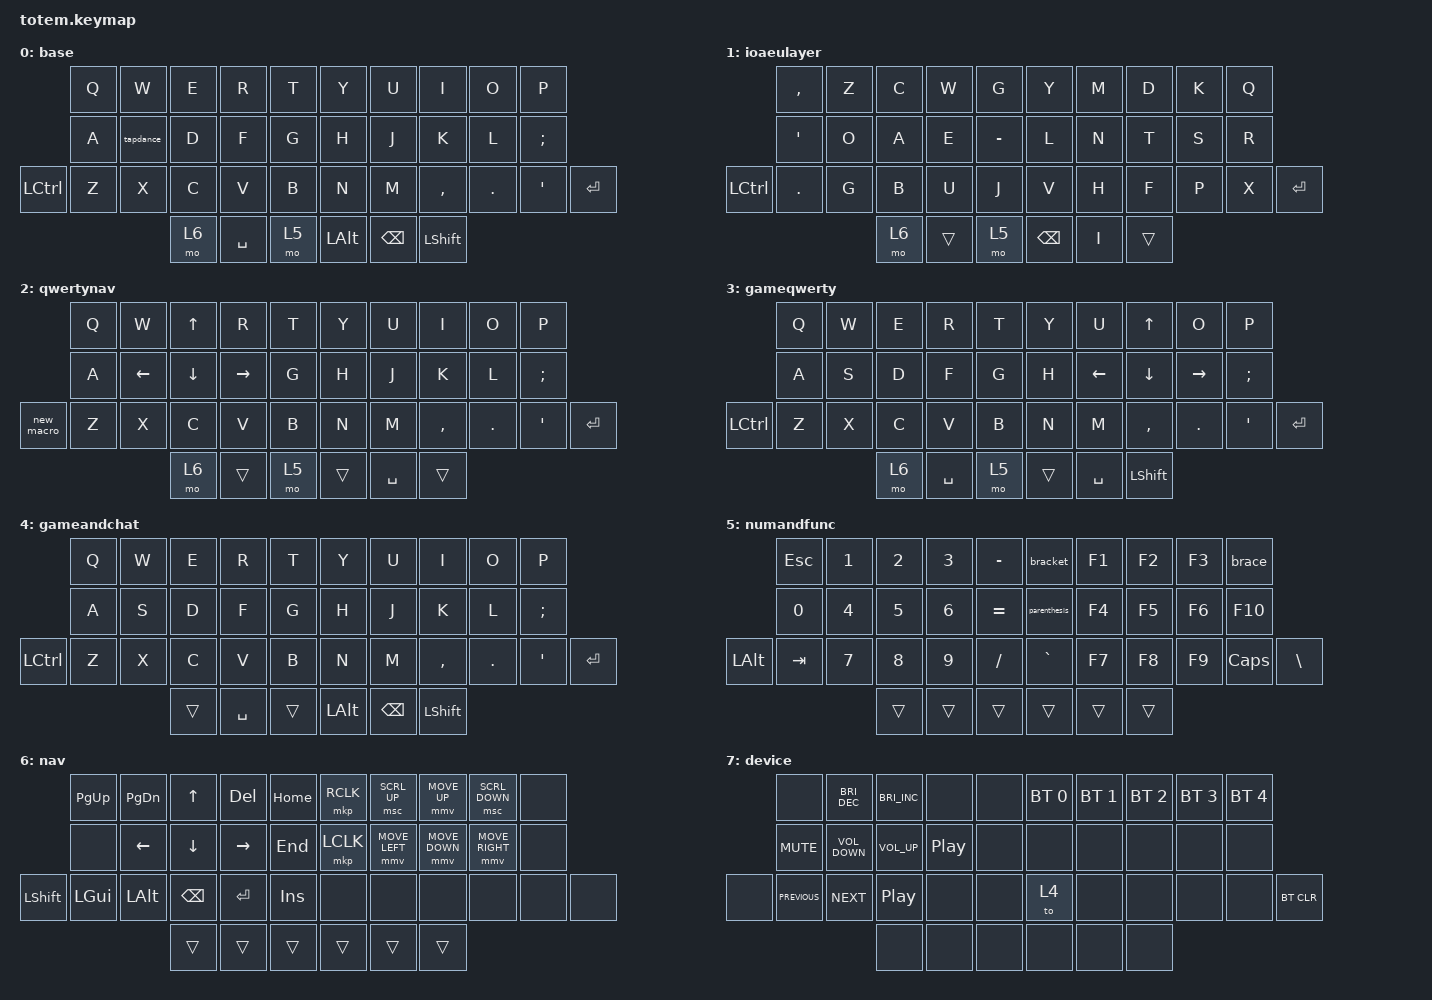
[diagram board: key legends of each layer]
//
//                                                        ▀▀▀▀▀     ▀▀▀▀▀          ▀▀█▀▀
//                                                        ▄▀▀▀▄  ▄  ▄▀▀▀▄  ▄  ▄▀▀▀▄  █  ▄▀▀▀▄
//                                                        █   █  █  █   █  █  █   █  █  █   █
//                                                         ▀▀▀   █   ▀▀▀   █   ▀▀▀   ▀   ▀▀▀
//                                                               █      ▄▄▄█▄▄▄    █   █  
//                                                               ▀      █  █  █     █▄█
//                                                             ▀▀▀▀▀    █  █  █      ▀
//                                                                      ▀  ▀  ▀
//
// ▄▄▄▄▄▄▄▄▄▄▄▄▄▄▄▄▄▄▄▄▄▄▄▄▄▄▄▄▄▄▄▄▄▄▄▄▄▄▄▄▄▄▄▄▄▄▄▄▄▄▄▄▄▄▄▄▄▄▄▄▄▄▄▄▄▄▄▄▄▄▄▄▄▄▄▄▄▄▄▄▄▄▄▄▄▄▄▄▄▄▄▄▄▄▄▄▄▄▄▄▄▄▄▄▄▄▄▄▄▄▄▄▄▄▄▄▄▄▄▄▄▄▄▄▄▄▄▄▄▄▄▄▄▄▄▄▄▄▄▄▄▄▄▄▄▄▄▄▄

#include <behaviors.dtsi>
#include <dt-bindings/zmk/bt.h>
#include <dt-bindings/zmk/keys.h>
#include <dt-bindings/zmk/pointing.h>

/ {
    combos {
        compatible = "zmk,combos";

        tobaselayer {
            bindings = <&to 0>;
            key-positions = <26 27>;
            timeout-ms = <60>;
            require-prior-idle-ms = <100>;
            layers = <0 1 2 3 4>;
        };

        toioaeu {
            bindings = <&to 1>;
            key-positions = <26 28>;
            timeout-ms = <60>;
            require-prior-idle-ms = <100>;
            layers = <0 1 2>;
        };

        tooqwertynav {
            bindings = <&to 2>;
            key-positions = <26 29>;
            timeout-ms = <60>;
            require-prior-idle-ms = <100>;
            layers = <0 1 2>;
        };

        rightalt {
            bindings = <&kp RIGHT_ALT>;
            key-positions = <16 17>;
            timeout-ms = <60>;
            require-prior-idle-ms = <100>;
            layers = <0 1>;
        };

        altshift {
            bindings = <&kp LA(LEFT_SHIFT)>;
            key-positions = <15 16>;
            timeout-ms = <60>;
            require-prior-idle-ms = <100>;
            layers = <0 1>;
        };

        shiftcaps {
            bindings = <&kp LS(CAPSLOCK)>;
            key-positions = <15 17>;
            timeout-ms = <60>;
            require-prior-idle-ms = <100>;
            layers = <0 1>;
        };

        alttab {
            bindings = <&kp LA(TAB)>;
            key-positions = <1 0>;
            timeout-ms = <60>;
            require-prior-idle-ms = <100>;
            layers = <0 1 2 3>;
        };

        engandtoioaeu {
            bindings = <&EngAndToioaeulayer>;
            key-positions = <16 18>;
            timeout-ms = <60>;
            require-prior-idle-ms = <100>;
            layers = <0 1>;
        };

        engandtoobase {
            bindings = <&EngAndTobaselayer>;
            key-positions = <16 19>;
            layers = <0 1>;
            timeout-ms = <60>;
            require-prior-idle-ms = <100>;
        };

        leftalt {
            bindings = <&kp LEFT_ALT>;
            key-positions = <12 13>;
            timeout-ms = <60>;
            require-prior-idle-ms = <100>;
            layers = <0 1>;
        };

        tolayergame {
            bindings = <&to 3>;
            key-positions = <26 30>;
            timeout-ms = <60>;
            require-prior-idle-ms = <100>;
            layers = <0>;
        };

        windowd {
            bindings = <&kp LG(D)>;
            key-positions = <0 2>;
            timeout-ms = <60>;
            require-prior-idle-ms = <100>;
            layers = <0 1 2 3>;
        };
    };

    macros {
        EngAndToioaeulayer: EngAndToioaeulayer {
            compatible = "zmk,behavior-macro";
            #binding-cells = <0>;
            bindings = <&kp RIGHT_ALT &to 1>;
            label = "ENGANDTOIOAEULAYER";
            tap-ms = <20>;
        };

        EngAndTobaselayer: EngAndTobaselayer {
            compatible = "zmk,behavior-macro";
            #binding-cells = <0>;
            bindings = <&kp RIGHT_ALT &to 0>;
            label = "ENGANDTOBASELAYER";
            wait-ms = <20>;
        };

        bracket: bracket {
            compatible = "zmk,behavior-macro";
            #binding-cells = <0>;
            bindings = <&kp LEFT_BRACKET &kp RIGHT_BRACKET &kp LEFT>;
            label = "BRACKET";
            wait-ms = <20>;
        };

        parenthesis: parenthesis {
            compatible = "zmk,behavior-macro";
            #binding-cells = <0>;
            bindings = <&kp LEFT_PARENTHESIS &kp RIGHT_PARENTHESIS &kp LEFT>;
            label = "PARENTHESIS";
            wait-ms = <20>;
        };

        brace: brace {
            compatible = "zmk,behavior-macro";
            #binding-cells = <0>;
            bindings = <&kp LEFT_BRACE &kp RIGHT_BRACE &kp LEFT>;
            label = "BRACE";
            wait-ms = <20>;
        };

        new_macro: new_macro {
            compatible = "zmk,behavior-macro";
            #binding-cells = <0>;
            bindings =
                <&macro_tap>,
                <&macro_tap_time 50000>,
                <&kp B>,
                <&macro_tap_time 50000>,
                <&kp B>;

            label = "NEW_MACRO";
        };
    };

    behaviors {
        holdtap: holdtap {
            compatible = "zmk,behavior-hold-tap";
            label = "HOLDTAP";
            bindings = <&kp>, <&kp>;

            #binding-cells = <2>;
            tapping-term-ms = <200>;
        };

        tapdance: tapdance {
            compatible = "zmk,behavior-tap-dance";
            label = "TAPDANCE";
            #binding-cells = <0>;
            bindings = <&kp S>, <&kp TAB>;
        };
    };

    keymap {
        compatible = "zmk,keymap";

        base {
            bindings = <
           &kp Q  &kp W      &kp E  &kp R      &kp T    &kp Y         &kp U          &kp I           &kp O    &kp P
           &kp A  &tapdance  &kp D  &kp F      &kp G    &kp H         &kp J          &kp K           &kp L    &kp SEMI
&kp LCTRL  &kp Z  &kp X      &kp C  &kp V      &kp B    &kp N         &kp M          &kp COMMA       &kp DOT  &kp APOS  &kp ENTER
                             &mo 6  &kp SPACE  &mo 5    &kp LEFT_ALT  &kp BACKSPACE  &kp LEFT_SHIFT
            >;
        };

        ioaeulayer {
            bindings = <
           &kp COMMA         &kp Z  &kp C  &kp W   &kp G        &kp Y          &kp M  &kp D   &kp K  &kp Q
           &kp SINGLE_QUOTE  &kp O  &kp A  &kp E   &kp MINUS    &kp L          &kp N  &kp T   &kp S  &kp R
&kp LCTRL  &kp PERIOD        &kp G  &kp B  &kp U   &kp J        &kp V          &kp H  &kp F   &kp P  &kp X  &kp ENTER
                                    &mo 6  &trans  &mo 5        &kp BACKSPACE  &kp I  &trans
            >;
        };

        qwertynav {
            bindings = <
            &kp Q  &kp W           &kp UP_ARROW    &kp R            &kp T    &kp Y   &kp U      &kp I      &kp O    &kp P
            &kp A  &kp LEFT_ARROW  &kp DOWN_ARROW  &kp RIGHT_ARROW  &kp G    &kp H   &kp J      &kp K      &kp L    &kp SEMI
&new_macro  &kp Z  &kp X           &kp C           &kp V            &kp B    &kp N   &kp M      &kp COMMA  &kp DOT  &kp APOS  &kp ENTER
                                   &mo 6           &trans           &mo 5    &trans  &kp SPACE  &trans
            >;
        };

        gameqwerty {
            bindings = <
           &kp Q  &kp W  &kp E  &kp R      &kp T    &kp Y   &kp U           &kp UP_ARROW    &kp O            &kp P
           &kp A  &kp S  &kp D  &kp F      &kp G    &kp H   &kp LEFT_ARROW  &kp DOWN_ARROW  &kp RIGHT_ARROW  &kp SEMI
&kp LCTRL  &kp Z  &kp X  &kp C  &kp V      &kp B    &kp N   &kp M           &kp COMMA       &kp DOT          &kp APOS  &kp ENTER
                         &mo 6  &kp SPACE  &mo 5    &trans  &kp SPACE       &kp LEFT_SHIFT
            >;
        };

        gameandchat {
            bindings = <
           &kp Q  &kp W  &kp E   &kp R      &kp T     &kp Y         &kp U          &kp I           &kp O    &kp P
           &kp A  &kp S  &kp D   &kp F      &kp G     &kp H         &kp J          &kp K           &kp L    &kp SEMI
&kp LCTRL  &kp Z  &kp X  &kp C   &kp V      &kp B     &kp N         &kp M          &kp COMMA       &kp DOT  &kp APOS  &kp ENTER
                         &trans  &kp SPACE  &trans    &kp LEFT_ALT  &kp BACKSPACE  &kp LEFT_SHIFT
            >;
        };

        numandfunc {
            bindings = <
              &kp ESC  &kp N1  &kp N2  &kp N3  &kp MINUS    &bracket      &kp F1  &kp F2  &kp F3  &brace
              &kp N0   &kp N4  &kp N5  &kp N6  &kp EQUAL    &parenthesis  &kp F4  &kp F5  &kp F6  &kp F10
&kp LEFT_ALT  &kp TAB  &kp N7  &kp N8  &kp N9  &kp FSLH     &kp GRAVE     &kp F7  &kp F8  &kp F9  &kp CAPS  &kp BACKSLASH
                               &trans  &trans  &trans       &trans        &trans  &trans
            >;
        };

        nav {
            bindings = <
                &kp PAGE_UP   &kp PAGE_DOWN   &kp UP_ARROW    &kp DELETE       &kp HOME    &mkp RCLK  &msc SCRL_UP    &mmv MOVE_UP    &msc SCRL_DOWN   &none
                &none         &kp LEFT_ARROW  &kp DOWN_ARROW  &kp RIGHT_ARROW  &kp END     &mkp LCLK  &mmv MOVE_LEFT  &mmv MOVE_DOWN  &mmv MOVE_RIGHT  &none
&kp LEFT_SHIFT  &kp LEFT_GUI  &kp LEFT_ALT    &kp BACKSPACE   &kp ENTER        &kp INS     &none      &none           &none           &none            &none  &none
                                              &trans          &trans           &trans      &trans     &trans          &trans
            >;
        };

        device {
            bindings = <
       &none           &kp C_BRIGHTNESS_DEC  &kp C_BRIGHTNESS_INC  &none             &none    &bt BT_SEL 0  &bt BT_SEL 1  &bt BT_SEL 2  &bt BT_SEL 3  &bt BT_SEL 4
       &kp K_MUTE      &kp C_VOLUME_DOWN     &kp C_VOLUME_UP       &kp C_PLAY_PAUSE  &none    &none         &none         &none         &none         &none
&none  &kp K_PREVIOUS  &kp K_NEXT            &kp C_PLAY_PAUSE      &none             &none    &to 4         &none         &none         &none         &none         &bt BT_CLR
                                             &none                 &none             &none    &none         &none         &none
            >;
        };
    };

    conditional_layers {
        compatible = "zmk,conditional-layers";

        device {
            if-layers = <5 6>;
            then-layer = <7>;
        };
    };
};
